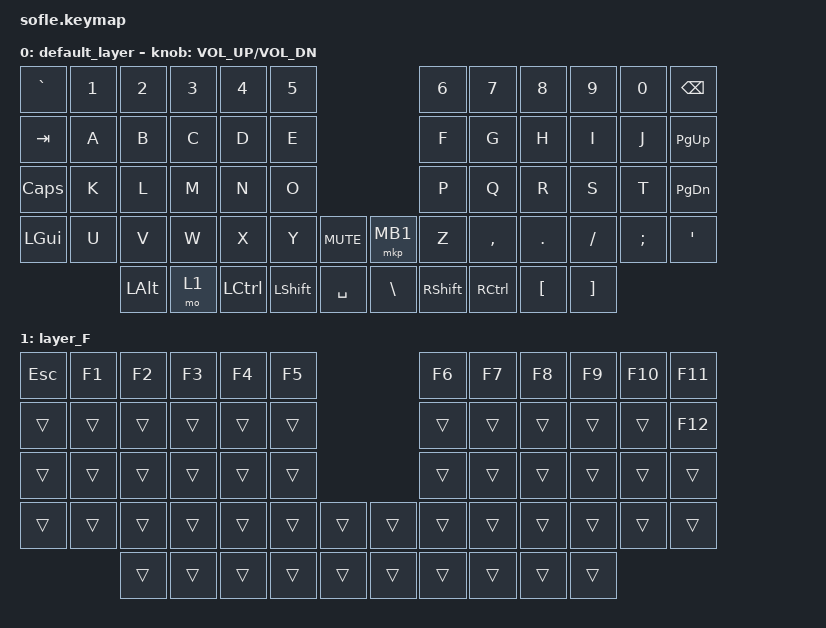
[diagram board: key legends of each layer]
/*
 * Copyright (c) 2020 The ZMK Contributors
 *
 * SPDX-License-Identifier: MIT
 */

#include <behaviors.dtsi>
#include <dt-bindings/zmk/keys.h>
#include <dt-bindings/zmk/pointing.h>

#define BASE 0
#define LOWER 1
#define RAISE 2
#define ADJUST 3

/ {
    // Activate ADJUST layer by pressing raise and lower

    conditional_layers {
        compatible = "zmk,conditional-layers";

        adjust_layer {
            if-layers = <2 2>;
            then-layer = <3>;
        };
    };

    keymap {
        compatible = "zmk,keymap";

        default_layer {
            // ------------------------------------------------------------------------------------------------------------
            // |  `    |  1  |  2  |  3   |  4   |  5   |                   |  6   |  7    |  8    |  9   |   0   |       |
            // |  ESC  |  Q  |  W  |  E   |  R   |  T   |                   |  Y   |  U    |  I    |  O   |   P   | BKSPC |
            // |  TAB  |  A  |  S  |  D   |  F   |  G   |                   |  H   |  J    |  K    |  L   |   ;   |   '   |
            // | SHIFT |  Z  |  X  |  C   |  V   |  B   |  MUTE  |  |       |  N   |  M    |  ,    |  .   |   /   | SHIFT |
            //               | GUI | ALT  | CTRL | LOWER|  ENTER |  | SPACE | RAISE| CTRL  | ALT   | GUI  |

            bindings = <
&kp GRAVE  &kp N1  &kp N2        &kp N3  &kp N4     &kp N5                             &kp N6           &kp N7     &kp N8    &kp N9    &kp N0    &kp BSPC
&kp TAB    &kp A   &kp B         &kp C   &kp D      &kp E                              &kp F            &kp G      &kp H     &kp I     &kp J     &kp PG_UP
&kp CAPS   &kp K   &kp L         &kp M   &kp N      &kp O                              &kp P            &kp Q      &kp R     &kp S     &kp T     &kp PG_DN
&kp LGUI   &kp U   &kp V         &kp W   &kp X      &kp Y      &kp C_MUTE    &mkp MB1  &kp Z            &kp COMMA  &kp DOT   &kp FSLH  &kp SEMI  &kp SQT
                   &kp LEFT_ALT  &mo 1   &kp LCTRL  &kp LSHFT  &kp SPACE     &kp BSLH  &kp RIGHT_SHIFT  &kp RCTRL  &kp LBKT  &kp RBKT
            >;

            sensor-bindings = <&inc_dec_kp C_VOL_UP C_VOL_DN>;
        };

        layer_F {
            bindings = <
&kp ESC  &kp F1  &kp F2  &kp F3  &kp F4  &kp F5                    &kp F6  &kp F7  &kp F8  &kp F9  &kp F10  &kp F11
&trans   &trans  &trans  &trans  &trans  &trans                    &trans  &trans  &trans  &trans  &trans   &kp F12
&trans   &trans  &trans  &trans  &trans  &trans                    &trans  &trans  &trans  &trans  &trans   &trans
&trans   &trans  &trans  &trans  &trans  &trans  &trans    &trans  &trans  &trans  &trans  &trans  &trans   &trans
                 &trans  &trans  &trans  &trans  &trans    &trans  &trans  &trans  &trans  &trans
            >;
        };
    };
};
